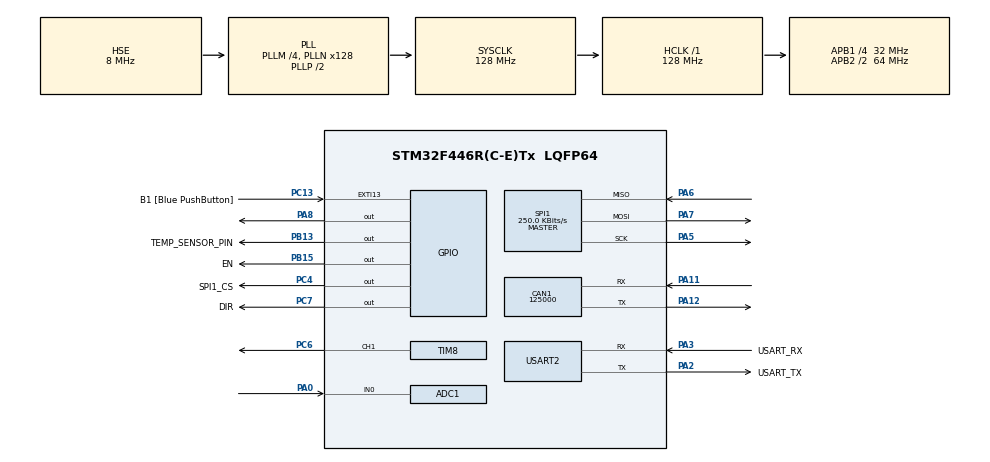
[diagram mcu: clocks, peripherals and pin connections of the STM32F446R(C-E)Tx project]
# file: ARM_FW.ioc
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Mcu.Family=STM32F4
CAN1.NART=ENABLE
PA6.Mode=Full_Duplex_Master
PH0-OSC_IN.Signal=RCC_OSC_IN
VP_TIM1_VS_OPM.Mode=OPM_bit
RCC.CortexFreq_Value=128000000
SPI1.VirtualType=VM_MASTER
TIM1.RepetitionCounter=10
PA14.GPIO_Label=TCK
PA11.Mode=CAN_Activate
VP_TIM8_VS_OPM.Mode=OPM_bit
PC13.GPIO_Label=B1 [Blue PushButton]
PB13.GPIO_Label=TEMP_SENSOR_PIN
PB13.Signal=GPIO_Output
PB15.Signal=GPIO_Output
RCC.SYSCLKSource=RCC_SYSCLKSOURCE_PLLCLK
ProjectManager.StackSize=0x400
PA12.Signal=CAN1_TX
TIM1.Prescaler=32000-1
SPI1.Direction=SPI_DIRECTION_2LINES
RCC.HCLKFreq_Value=128000000
TIM8.Channel-PWM\ Generation1\ CH1=TIM_CHANNEL_1
RCC.APB2TimFreq_Value=128000000
PC7.Signal=GPIO_Output
SPI1.CalculateBaudRate=250.0 KBits/s
RCC.AHBFreq_Value=128000000
PH0-OSC_IN.Mode=HSE-External-Oscillator
ADC1.Channel-0\#ChannelRegularConversion=ADC_CHANNEL_0
RCC.HSE_VALUE=8000000
PC14-OSC32_IN.Mode=LSE-External-Oscillator
PC4.GPIO_Label=SPI1_CS
PA14.Mode=Serial_Wire
NVIC.TIM2_IRQn=true\:0\:0\:false\:false\:true\:true\:true
PA8.Signal=GPIO_Output
SH.ADCx_IN0.0=ADC1_IN0,IN0
ADC1.SamplingTime-0\#ChannelRegularConversion=ADC_SAMPLETIME_3CYCLES
RCC.FLatency-AdvancedSettings=FLASH_LATENCY_4
PH1-OSC_OUT.Mode=HSE-External-Oscillator
Mcu.Package=LQFP64
TIM2.Prescaler=64 - 1
PA6.Signal=SPI1_MISO
USART2.VirtualMode=VM_ASYNC
PA2.GPIO_Label=USART_TX
TIM8.Prescaler=32000-1
RCC.APB2CLKDivider=RCC_HCLK_DIV2
RCC.APB1TimFreq_Value=64000000
TIM1.Period=250-1
SPI1.BaudRatePrescaler=SPI_BAUDRATEPRESCALER_256
CAN1.CalculateTimeBit=8000.00
VP_TIM3_VS_ClockSourceINT.Mode=Internal
PA3.Signal=USART2_RX
CAN1.CalculateTimeQuantum=500.0
PA5.Mode=Full_Duplex_Master
RCC.PLLSourceVirtual=RCC_PLLSOURCE_HSE
PC15-OSC32_OUT.Mode=LSE-External-Oscillator
ADC1.Rank-0\#ChannelRegularConversion=1
PA7.Mode=Full_Duplex_Master
PC13.Signal=GPXTI13
CAN1.CalculateBaudRate=125000
PC4.Signal=GPIO_Output
PC6.Signal=S_TIM8_CH1
RCC.APB1CLKDivider=RCC_HCLK_DIV4
PC14-OSC32_IN.Signal=RCC_OSC32_IN
PA0-WKUP.Signal=ADCx_IN0
PA3.Mode=Asynchronous
PA13.Signal=SYS_JTMS-SWDIO
TIM1.AutoReloadPreload=TIM_AUTORELOAD_PRELOAD_ENABLE
CAN1.BS2=CAN_BS2_2TQ
CAN1.BS1=CAN_BS1_13TQ
ProjectManager.TargetToolchain=STM32CubeIDE
RCC.USBFreq_Value=128000000
PC15-OSC32_OUT.Signal=RCC_OSC32_OUT
PA5.Signal=SPI1_SCK
SH.S_TIM8_CH1.0=TIM8_CH1,PWM Generation1 CH1
TIM8.AutoReloadPreload=TIM_AUTORELOAD_PRELOAD_ENABLE
board=NUCLEO-F446RE
RCC.VCOOutputFreq_Value=256000000
NVIC.TIM3_IRQn=true\:0\:0\:false\:false\:true\:true\:true
TIM1.TIM_MasterOutputTrigger=TIM_TRGO_UPDATE
RCC.APB2Freq_Value=64000000
PB15.GPIO_Label=EN
VP_TIM2_VS_ClockSourceINT.Mode=Internal
SPI1.Mode=SPI_MODE_MASTER
PH1-OSC_OUT.Signal=RCC_OSC_OUT
TIM2.Period=1000 - 1 
PA13.Mode=Serial_Wire
TIM8.RepetitionCounter=10
Mcu.Name=STM32F446R(C-E)Tx
PA2.Signal=USART2_TX
PA13.GPIO_Label=TMS
NVIC.TIM1_CC_IRQn=true\:0\:0\:false\:false\:true\:true\:true
TIM8.Period=250-1
PC7.GPIO_Label=DIR
RCC.48MHZClocksFreq_Value=84000000
RCC.SYSCLKFreq_VALUE=128000000
ADC1.master=1
PA12.Mode=CAN_Activate
TIM8.TIM_MasterOutputTrigger=TIM_TRGO_UPDATE
PC13.GPIO_ModeDefaultEXTI=GPIO_MODE_IT_FALLING
PA11.Signal=CAN1_RX
PA14.Signal=SYS_JTCK-SWCLK
ProjectManager.HeapSize=0x200
NVIC.TIM1_UP_TIM10_IRQn=true\:0\:0\:false\:false\:true\:true\:true
RCC.HSI_VALUE=16000000
NVIC.PriorityGroup=NVIC_PRIORITYGROUP_0
ADC1.NbrOfConversionFlag=1
RCC.PLLM=4
RCC.PLLN=128
PA2.Mode=Asynchronous
RCC.APB1Freq_Value=32000000
NVIC.CAN1_RX0_IRQn=true\:0\:0\:false\:false\:true\:true\:true
PA3.GPIO_Label=USART_RX
PA7.Signal=SPI1_MOSI

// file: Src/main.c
/* USER CODE BEGIN Header */
/**
 ******************************************************************************
 * @file           : main.c
 * @brief          : Main program body
 ******************************************************************************
 * @attention
 *
 * <h2><center>&copy; Copyright (c) 2021 STMicroelectronics.
 * All rights reserved.</center></h2>
 *
 * This software component is licensed by ST under BSD 3-Clause license,
 * the "License"; You may not use this file except in compliance with the
 * License. You may obtain a copy of the License at:
 *                        opensource.org/licenses/BSD-3-Clause
 *
 ******************************************************************************
 */
/* USER CODE END Header */
#include "main.h"

/* USER CODE BEGIN Includes */
#include "inverseKinematics.h"
#include <stdio.h>
#include <string.h>
#include <ISD.h>
#include "retarget.h"

/* USER CODE END Includes */

/* USER CODE BEGIN PD */
#define KP  0.005
#define KI  0

/* USER CODE END PD */

ADC_HandleTypeDef hadc1;

CAN_HandleTypeDef hcan1;

SPI_HandleTypeDef hspi1;

TIM_HandleTypeDef htim1;
TIM_HandleTypeDef htim2;
TIM_HandleTypeDef htim3;
TIM_HandleTypeDef htim8;

UART_HandleTypeDef huart2;

/* USER CODE BEGIN PV */

StepperMotor motor[3];

uint8_t encoder_flag = 0;

////////////// POSITION CONTROLLER VARIABLES //////////////////
volatile float q[6];
volatile float q_prev[6];
volatile float q_target[6];

volatile float Pos_error[6];
volatile float Pos_integral[6];

volatile float u[6];

///////////////////////////////////////////////////////////////

/* USER CODE END PV */

void SystemClock_Config(void);
static void MX_GPIO_Init(void);
static void MX_CAN1_Init(void);
static void MX_SPI1_Init(void);
static void MX_TIM1_Init(void);
static void MX_USART2_UART_Init(void);
static void MX_TIM2_Init(void);
static void MX_TIM3_Init(void);
static void MX_TIM8_Init(void);
static void MX_ADC1_Init(void);
/* USER CODE BEGIN PFP */
uint16_t amt222_readPos(uint8_t encoder_index);
uint16_t amt222_setZero();
void init_steppers();
void encoders_check();
/* USER CODE END PFP */

int main(void) {

	/* MCU Configuration--------------------------------------------------------*/

	/* Reset of all peripherals, Initializes the Flash interface and the Systick. */
	HAL_Init();

	/* Configure the system clock */
	SystemClock_Config();

	/* Initialize all configured peripherals */
	MX_GPIO_Init();
	MX_CAN1_Init();
	MX_SPI1_Init();
	MX_TIM1_Init();
	MX_USART2_UART_Init();
	MX_TIM2_Init();
	MX_TIM3_Init();
	MX_TIM8_Init();
	MX_ADC1_Init();
	/* USER CODE BEGIN 2 */
	RetargetInit(&huart2);

	printf("Stepper Board \n");

	HAL_TIM_Base_Start(&htim8);

	init_steppers();

	encoders_check();

	HAL_Delay(2000);

	HAL_TIM_Base_Start_IT(&htim2);

	/* USER CODE END 2 */

	/* Infinite loop */
	while (1) {

	}
}

void SystemClock_Config(void) {
	RCC_OscInitTypeDef RCC_OscInitStruct = { 0 };
	RCC_ClkInitTypeDef RCC_ClkInitStruct = { 0 };

	/** Configure the main internal regulator output voltage
	 */
	__HAL_RCC_PWR_CLK_ENABLE();
	__HAL_PWR_VOLTAGESCALING_CONFIG(PWR_REGULATOR_VOLTAGE_SCALE2);
	/** Initializes the RCC Oscillators according to the specified parameters
	 * in the RCC_OscInitTypeDef structure.
	 */
	RCC_OscInitStruct.OscillatorType = RCC_OSCILLATORTYPE_HSE;
	RCC_OscInitStruct.HSEState = RCC_HSE_ON;
	RCC_OscInitStruct.PLL.PLLState = RCC_PLL_ON;
	RCC_OscInitStruct.PLL.PLLSource = RCC_PLLSOURCE_HSE;
	RCC_OscInitStruct.PLL.PLLM = 4;
	RCC_OscInitStruct.PLL.PLLN = 128;
	RCC_OscInitStruct.PLL.PLLP = RCC_PLLP_DIV2;
	RCC_OscInitStruct.PLL.PLLQ = 2;
	RCC_OscInitStruct.PLL.PLLR = 2;
	if (HAL_RCC_OscConfig(&RCC_OscInitStruct) != HAL_OK) {
		Error_Handler();
	}
	/** Initializes the CPU, AHB and APB buses clocks
	 */
	RCC_ClkInitStruct.ClockType = RCC_CLOCKTYPE_HCLK | RCC_CLOCKTYPE_SYSCLK
			| RCC_CLOCKTYPE_PCLK1 | RCC_CLOCKTYPE_PCLK2;
	RCC_ClkInitStruct.SYSCLKSource = RCC_SYSCLKSOURCE_PLLCLK;
	RCC_ClkInitStruct.AHBCLKDivider = RCC_SYSCLK_DIV1;
	RCC_ClkInitStruct.APB1CLKDivider = RCC_HCLK_DIV4;
	RCC_ClkInitStruct.APB2CLKDivider = RCC_HCLK_DIV2;

	if (HAL_RCC_ClockConfig(&RCC_ClkInitStruct, FLASH_LATENCY_4) != HAL_OK) {
		Error_Handler();
	}
}

static void MX_ADC1_Init(void) {

	ADC_ChannelConfTypeDef sConfig = { 0 };

	/** Configure the global features of the ADC (Clock, Resolution, Data Alignment and number of conversion)
	 */
	hadc1.Instance = ADC1;
	hadc1.Init.ClockPrescaler = ADC_CLOCK_SYNC_PCLK_DIV2;
	hadc1.Init.Resolution = ADC_RESOLUTION_12B;
	hadc1.Init.ScanConvMode = DISABLE;
	hadc1.Init.ContinuousConvMode = DISABLE;
	hadc1.Init.DiscontinuousConvMode = DISABLE;
	hadc1.Init.ExternalTrigConvEdge = ADC_EXTERNALTRIGCONVEDGE_NONE;
	hadc1.Init.ExternalTrigConv = ADC_SOFTWARE_START;
	hadc1.Init.DataAlign = ADC_DATAALIGN_RIGHT;
	hadc1.Init.NbrOfConversion = 1;
	hadc1.Init.DMAContinuousRequests = DISABLE;
	hadc1.Init.EOCSelection = ADC_EOC_SINGLE_CONV;
	if (HAL_ADC_Init(&hadc1) != HAL_OK) {
		Error_Handler();
	}
	/** Configure for the selected ADC regular channel its corresponding rank in the sequencer and its sample time.
	 */
	sConfig.Channel = ADC_CHANNEL_0;
	sConfig.Rank = 1;
	sConfig.SamplingTime = ADC_SAMPLETIME_3CYCLES;
	if (HAL_ADC_ConfigChannel(&hadc1, &sConfig) != HAL_OK) {
		Error_Handler();
	}

}

static void MX_CAN1_Init(void) {

	hcan1.Instance = CAN1;
	hcan1.Init.Prescaler = 16;
	hcan1.Init.Mode = CAN_MODE_NORMAL;
	hcan1.Init.SyncJumpWidth = CAN_SJW_1TQ;
	hcan1.Init.TimeSeg1 = CAN_BS1_13TQ;
	hcan1.Init.TimeSeg2 = CAN_BS2_2TQ;
	hcan1.Init.TimeTriggeredMode = DISABLE;
	hcan1.Init.AutoBusOff = DISABLE;
	hcan1.Init.AutoWakeUp = DISABLE;
	hcan1.Init.AutoRetransmission = ENABLE;
	hcan1.Init.ReceiveFifoLocked = DISABLE;
	hcan1.Init.TransmitFifoPriority = DISABLE;
	if (HAL_CAN_Init(&hcan1) != HAL_OK) {
		Error_Handler();
	}

}

static void MX_SPI1_Init(void) {

	/* SPI1 parameter configuration*/
	hspi1.Instance = SPI1;
	hspi1.Init.Mode = SPI_MODE_MASTER;
	hspi1.Init.Direction = SPI_DIRECTION_2LINES;
	hspi1.Init.DataSize = SPI_DATASIZE_8BIT;
	hspi1.Init.CLKPolarity = SPI_POLARITY_LOW;
	hspi1.Init.CLKPhase = SPI_PHASE_1EDGE;
	hspi1.Init.NSS = SPI_NSS_SOFT;
	hspi1.Init.BaudRatePrescaler = SPI_BAUDRATEPRESCALER_256;
	hspi1.Init.FirstBit = SPI_FIRSTBIT_MSB;
	hspi1.Init.TIMode = SPI_TIMODE_DISABLE;
	hspi1.Init.CRCCalculation = SPI_CRCCALCULATION_DISABLE;
	hspi1.Init.CRCPolynomial = 10;
	if (HAL_SPI_Init(&hspi1) != HAL_OK) {
		Error_Handler();
	}

}

static void MX_TIM1_Init(void) {

	TIM_MasterConfigTypeDef sMasterConfig = { 0 };

	htim1.Instance = TIM1;
	htim1.Init.Prescaler = 32000 - 1;
	htim1.Init.CounterMode = TIM_COUNTERMODE_UP;
	htim1.Init.Period = 250 - 1;
	htim1.Init.ClockDivision = TIM_CLOCKDIVISION_DIV1;
	htim1.Init.RepetitionCounter = 10;
	htim1.Init.AutoReloadPreload = TIM_AUTORELOAD_PRELOAD_ENABLE;
	if (HAL_TIM_OnePulse_Init(&htim1, TIM_OPMODE_SINGLE) != HAL_OK) {
		Error_Handler();
	}
	sMasterConfig.MasterOutputTrigger = TIM_TRGO_UPDATE;
	sMasterConfig.MasterSlaveMode = TIM_MASTERSLAVEMODE_DISABLE;
	if (HAL_TIMEx_MasterConfigSynchronization(&htim1, &sMasterConfig)
			!= HAL_OK) {
		Error_Handler();
	}

}

static void MX_TIM2_Init(void) {

	TIM_ClockConfigTypeDef sClockSourceConfig = { 0 };
	TIM_MasterConfigTypeDef sMasterConfig = { 0 };

	htim2.Instance = TIM2;
	htim2.Init.Prescaler = 64 - 1;
	htim2.Init.CounterMode = TIM_COUNTERMODE_UP;
	htim2.Init.Period = 10000 - 1;
	htim2.Init.ClockDivision = TIM_CLOCKDIVISION_DIV1;
	htim2.Init.AutoReloadPreload = TIM_AUTORELOAD_PRELOAD_DISABLE;
	if (HAL_TIM_Base_Init(&htim2) != HAL_OK) {
		Error_Handler();
	}
	sClockSourceConfig.ClockSource = TIM_CLOCKSOURCE_INTERNAL;
	if (HAL_TIM_ConfigClockSource(&htim2, &sClockSourceConfig) != HAL_OK) {
		Error_Handler();
	}
	sMasterConfig.MasterOutputTrigger = TIM_TRGO_RESET;
	sMasterConfig.MasterSlaveMode = TIM_MASTERSLAVEMODE_DISABLE;
	if (HAL_TIMEx_MasterConfigSynchronization(&htim2, &sMasterConfig)
			!= HAL_OK) {
		Error_Handler();
	}

}

static void MX_TIM3_Init(void) {

	TIM_ClockConfigTypeDef sClockSourceConfig = { 0 };
	TIM_MasterConfigTypeDef sMasterConfig = { 0 };

	htim3.Instance = TIM3;
	htim3.Init.Prescaler = 0;
	htim3.Init.CounterMode = TIM_COUNTERMODE_UP;
	htim3.Init.Period = 65535;
	htim3.Init.ClockDivision = TIM_CLOCKDIVISION_DIV1;
	htim3.Init.AutoReloadPreload = TIM_AUTORELOAD_PRELOAD_DISABLE;
	if (HAL_TIM_Base_Init(&htim3) != HAL_OK) {
		Error_Handler();
	}
	sClockSourceConfig.ClockSource = TIM_CLOCKSOURCE_INTERNAL;
	if (HAL_TIM_ConfigClockSource(&htim3, &sClockSourceConfig) != HAL_OK) {
		Error_Handler();
	}
	sMasterConfig.MasterOutputTrigger = TIM_TRGO_RESET;
	sMasterConfig.MasterSlaveMode = TIM_MASTERSLAVEMODE_DISABLE;
	if (HAL_TIMEx_MasterConfigSynchronization(&htim3, &sMasterConfig)
			!= HAL_OK) {
		Error_Handler();
	}

}

static void MX_TIM8_Init(void) {

	TIM_MasterConfigTypeDef sMasterConfig = { 0 };
	TIM_OC_InitTypeDef sConfigOC = { 0 };
	TIM_BreakDeadTimeConfigTypeDef sBreakDeadTimeConfig = { 0 };

	htim8.Instance = TIM8;
	htim8.Init.Prescaler = 32000 - 1;
	htim8.Init.CounterMode = TIM_COUNTERMODE_UP;
	htim8.Init.Period = 250 - 1;
	htim8.Init.ClockDivision = TIM_CLOCKDIVISION_DIV1;
	htim8.Init.RepetitionCounter = 10;
	htim8.Init.AutoReloadPreload = TIM_AUTORELOAD_PRELOAD_ENABLE;
	if (HAL_TIM_PWM_Init(&htim8) != HAL_OK) {
		Error_Handler();
	}
	if (HAL_TIM_OnePulse_Init(&htim8, TIM_OPMODE_SINGLE) != HAL_OK) {
		Error_Handler();
	}
	sMasterConfig.MasterOutputTrigger = TIM_TRGO_UPDATE;
	sMasterConfig.MasterSlaveMode = TIM_MASTERSLAVEMODE_DISABLE;
	if (HAL_TIMEx_MasterConfigSynchronization(&htim8, &sMasterConfig)
			!= HAL_OK) {
		Error_Handler();
	}
	sConfigOC.OCMode = TIM_OCMODE_PWM1;
	sConfigOC.Pulse = 0;
	sConfigOC.OCPolarity = TIM_OCPOLARITY_HIGH;
	sConfigOC.OCNPolarity = TIM_OCNPOLARITY_HIGH;
	sConfigOC.OCFastMode = TIM_OCFAST_DISABLE;
	sConfigOC.OCIdleState = TIM_OCIDLESTATE_RESET;
	sConfigOC.OCNIdleState = TIM_OCNIDLESTATE_RESET;
	if (HAL_TIM_PWM_ConfigChannel(&htim8, &sConfigOC, TIM_CHANNEL_1)
			!= HAL_OK) {
		Error_Handler();
	}
	sBreakDeadTimeConfig.OffStateRunMode = TIM_OSSR_DISABLE;
	sBreakDeadTimeConfig.OffStateIDLEMode = TIM_OSSI_DISABLE;
	sBreakDeadTimeConfig.LockLevel = TIM_LOCKLEVEL_OFF;
	sBreakDeadTimeConfig.DeadTime = 0;
	sBreakDeadTimeConfig.BreakState = TIM_BREAK_DISABLE;
	sBreakDeadTimeConfig.BreakPolarity = TIM_BREAKPOLARITY_HIGH;
	sBreakDeadTimeConfig.AutomaticOutput = TIM_AUTOMATICOUTPUT_DISABLE;
	if (HAL_TIMEx_ConfigBreakDeadTime(&htim8, &sBreakDeadTimeConfig)
			!= HAL_OK) {
		Error_Handler();
	}
	HAL_TIM_MspPostInit(&htim8);

}

static void MX_USART2_UART_Init(void) {

	huart2.Instance = USART2;
	huart2.Init.BaudRate = 115200;
	huart2.Init.WordLength = UART_WORDLENGTH_8B;
	huart2.Init.StopBits = UART_STOPBITS_1;
	huart2.Init.Parity = UART_PARITY_NONE;
	huart2.Init.Mode = UART_MODE_TX_RX;
	huart2.Init.HwFlowCtl = UART_HWCONTROL_NONE;
	huart2.Init.OverSampling = UART_OVERSAMPLING_16;
	if (HAL_UART_Init(&huart2) != HAL_OK) {
		Error_Handler();
	}

}

static void MX_GPIO_Init(void) {
	GPIO_InitTypeDef GPIO_InitStruct = { 0 };

	/* GPIO Ports Clock Enable */
	__HAL_RCC_GPIOC_CLK_ENABLE();
	__HAL_RCC_GPIOH_CLK_ENABLE();
	__HAL_RCC_GPIOA_CLK_ENABLE();
	__HAL_RCC_GPIOB_CLK_ENABLE();

	/*Configure GPIO pin Output Level */
	HAL_GPIO_WritePin(GPIOC, SPI1_CS_Pin | DIR_Pin, GPIO_PIN_RESET);

	/*Configure GPIO pin Output Level */
	HAL_GPIO_WritePin(GPIOB, TEMP_SENSOR_PIN_Pin | EN_Pin, GPIO_PIN_RESET);

	/*Configure GPIO pin Output Level */
	HAL_GPIO_WritePin(GPIOA, GPIO_PIN_8, GPIO_PIN_RESET);

	/*Configure GPIO pin : B1_Pin */
	GPIO_InitStruct.Pin = B1_Pin;
	GPIO_InitStruct.Mode = GPIO_MODE_IT_FALLING;
	GPIO_InitStruct.Pull = GPIO_NOPULL;
	HAL_GPIO_Init(B1_GPIO_Port, &GPIO_InitStruct);

	/*Configure GPIO pins : SPI1_CS_Pin DIR_Pin */
	GPIO_InitStruct.Pin = SPI1_CS_Pin | DIR_Pin;
	GPIO_InitStruct.Mode = GPIO_MODE_OUTPUT_PP;
	GPIO_InitStruct.Pull = GPIO_NOPULL;
	GPIO_InitStruct.Speed = GPIO_SPEED_FREQ_LOW;
	HAL_GPIO_Init(GPIOC, &GPIO_InitStruct);

	/*Configure GPIO pins : TEMP_SENSOR_PIN_Pin EN_Pin */
	GPIO_InitStruct.Pin = TEMP_SENSOR_PIN_Pin | EN_Pin;
	GPIO_InitStruct.Mode = GPIO_MODE_OUTPUT_PP;
	GPIO_InitStruct.Pull = GPIO_NOPULL;
	GPIO_InitStruct.Speed = GPIO_SPEED_FREQ_LOW;
	HAL_GPIO_Init(GPIOB, &GPIO_InitStruct);

	/*Configure GPIO pin : PA8 */
	GPIO_InitStruct.Pin = GPIO_PIN_8;
	GPIO_InitStruct.Mode = GPIO_MODE_OUTPUT_PP;
	GPIO_InitStruct.Pull = GPIO_NOPULL;
	GPIO_InitStruct.Speed = GPIO_SPEED_FREQ_LOW;
	HAL_GPIO_Init(GPIOA, &GPIO_InitStruct);

}

/* USER CODE BEGIN 4 */
uint16_t amt222_readPos(uint8_t encoder_index) {

	uint8_t buff1 = 0x00;
	uint8_t buff2 = 0x00;

	uint16_t currPos;

	uint8_t binaryArray[16];

	//devo dichiarare un array di spi_cs pin

	HAL_GPIO_WritePin(SPI1_CS_GPIO_Port, SPI1_CS_Pin, GPIO_PIN_RESET); // pull cs low

	HAL_Delay(0.01);

	HAL_SPI_Receive(&hspi1, &buff1, 1, 100);  // receive 1 bytes data

	HAL_Delay(0.01);

	HAL_SPI_Receive(&hspi1, &buff2, 1, 100);  // receive 1 bytes data

	HAL_Delay(0.01);

	HAL_GPIO_WritePin(SPI1_CS_GPIO_Port, SPI1_CS_Pin, GPIO_PIN_SET); // pull cs high

	currPos = ((uint16_t) buff1 << 8) | ((uint16_t) buff2);

	//// CRC ////

	for (int i = 0; i < 16; i++)
		binaryArray[i] = (0x01) & (currPos >> (i));

	//using the equation on the datasheet we can calculate the checksums and then make sure they match what the encoder sent
	if ((binaryArray[15]
			== !(binaryArray[13] ^ binaryArray[11] ^ binaryArray[9]
					^ binaryArray[7] ^ binaryArray[5] ^ binaryArray[3]
					^ binaryArray[1]))
			&& (binaryArray[14]
					== !(binaryArray[12] ^ binaryArray[10] ^ binaryArray[8]
							^ binaryArray[6] ^ binaryArray[4] ^ binaryArray[2]
							^ binaryArray[0])))

			{
		//we got back a good position, so just mask away the checkbits
		currPos &= 0x3FFF;
		// 12 bit resolution sensor, shift 2 bit needed
		currPos = currPos >> 2;
	} else {
		currPos = 0xFFFF; //bad position
	}

	return currPos;
}

void position_controller() {
	int i;
	//shoulder position control (stepper actuated)
	for (i = 0; i < 6; i++) {
		q[i] = 360.0 - ((amt222_readPos(i) / 4096.0) * 360.0); // amtreadpos has to be modified with an argument

		if (q[i] == 360.0)
			q[i] = 0;
		//compute error

		Pos_error[i] = q_target[i] - q[i];

		if (q[i] > 340 && q[i] < 359)
			Pos_error[i] = -Pos_error[i];

		Pos_integral[i] += Pos_error[i];

		u[i] = (KP * Pos_error[i] + KI * Pos_integral[i]);

		printf("JOINT: %d - Target = %.2f - Curr = %.2f - Err = %.2f - Int = %.2f - Comm = %.4f \n",i, q_target[i], q[i], Pos_error[i], Pos_integral[i], u[i]);

		HAL_GPIO_WritePin(EN_GPIO_Port, EN_Pin, 1);

		rotate(&motor[i], u[i], 0);

		HAL_GPIO_WritePin(EN_GPIO_Port, EN_Pin, 0);
	}
}

void encoders_check() {
for(int j = 0; j <3; j++) {
	amt222_readPos(j); // dummy read

	HAL_Delay(250);

	int temp = amt222_readPos(j);

	if (temp == 0xFFFF) {
		printf("Encoder Error\n");
		while (1)
			;
	}

	else {

		float pos = 360 - (amt222_readPos(j) / 4096.0) * 360.0;

		printf("Encoder %d Initialized - Actual Pos: %.2f\n",j,pos);
		}
	}
}

void init_steppers() {
	for (int i = 0; i < 3; i++) {
		motor[i].dir_Pin = DIR_Pin;
		motor[i].dir_Port = DIR_GPIO_Port;
		motor[i].htim = &htim8;
		motor[i].speed = 300;
		motor[i].stepChannel = TIM_CHANNEL_1;

		setSpeed(&motor[i], 150);
	}
}

void HAL_TIM_PeriodElapsedCallback(TIM_HandleTypeDef *htim) {
	// Check which version of the timer triggered this callback and toggle LED
	if (htim == &htim2) {
		HAL_GPIO_TogglePin(GPIOA, GPIO_PIN_8);
		position_controller();

	}
}
/* USER CODE END 4 */

void Error_Handler(void) {
	/* USER CODE BEGIN Error_Handler_Debug */
	/* User can add his own implementation to report the HAL error return state */
	printf("Erron Handler triggered\n");
	{
	}
	/* USER CODE END Error_Handler_Debug */
}

/************************ (C) COPYRIGHT STMicroelectronics *****END OF FILE****/
